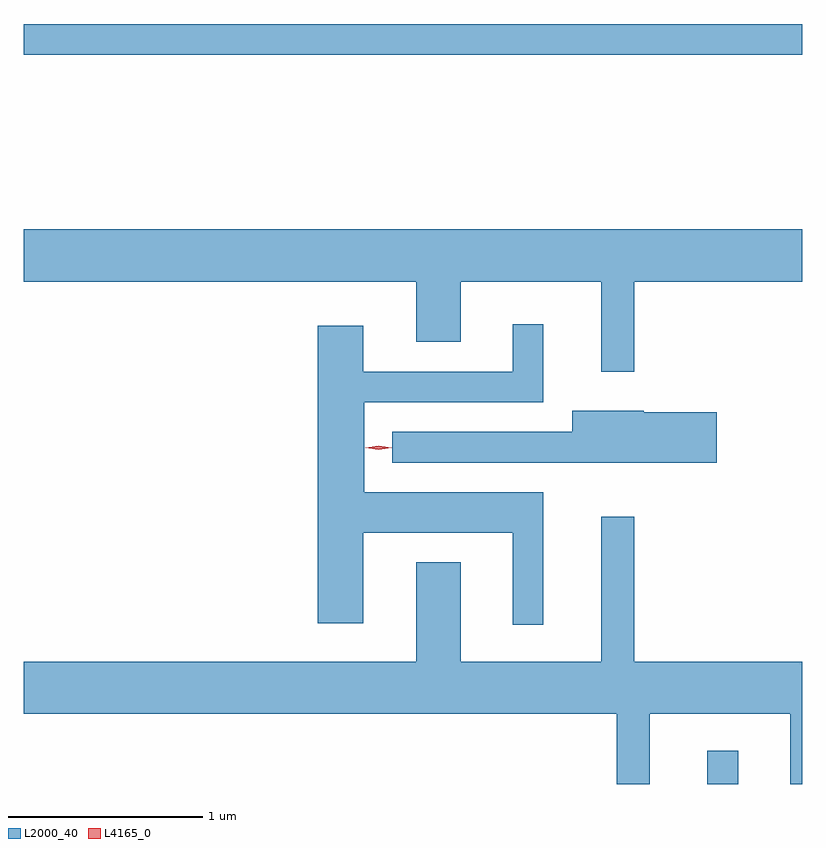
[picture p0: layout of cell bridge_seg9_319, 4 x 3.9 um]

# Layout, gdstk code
import gdstk
lib = gdstk.Library(unit=1e-6, precision=1e-09)
def R(c, l, rs):  # rectangles x0, y0, x1, y1
    for r in rs: c.add(gdstk.rectangle(r[:2], r[2:], *l))
def P(c, l, *ps):  # polygons
    for p in ps: c.add(gdstk.Polygon(p, *l))
L2000_40 = (2000, 40)
L4165_0 = (4165, 0)

bridge_seg9_319 = lib.new_cell('bridge_seg9_319')
R(bridge_seg9_319, L2000_40, [(724.566,2024.756,724.724,2024.928), (721.054,2028.501,725.054,2028.659)])
P(bridge_seg9_319, L2000_40, [(724.189,2027.336),(725.054,2027.336),(725.054,2027.604),(721.054,2027.604),(721.054,2027.336),(723.071,2027.336),(723.071,2027.026),(723.299,2027.026),(723.299,2027.336),(724.021,2027.336),(724.021,2026.873),(724.189,2026.873)],
  [(723.724,2026.254),(722.804,2026.254),(722.804,2026.716),(723.724,2026.716),(723.724,2027.118),(723.566,2027.118),(723.566,2026.874),(722.799,2026.874),(722.799,2027.109),(722.566,2027.109),(722.566,2025.581),(722.799,2025.581),(722.799,2026.046),(723.566,2026.046),(723.566,2025.573),(723.724,2025.573)],
  [(724.614,2026.664),(724.24,2026.664),(724.24,2026.674),(723.871,2026.674),(723.871,2026.564),(722.948,2026.564),(722.948,2026.406),(724.614,2026.406)],
  [(724.269,2025.116),(724.991,2025.116),(724.991,2024.756),(725.054,2024.756),(725.054,2025.384),(724.189,2025.384),(724.189,2026.128),(724.021,2026.128),(724.021,2025.384),(723.299,2025.384),(723.299,2025.894),(723.071,2025.894),(723.071,2025.384),(721.054,2025.384),(721.054,2025.116),(724.101,2025.116),(724.101,2024.756),(724.269,2024.756)])
P(bridge_seg9_319, L4165_0, [(722.877,2026.474),(722.811,2026.483),(722.81,2026.484),(722.811,2026.484),(722.877,2026.494),(722.942,2026.484),(722.943,2026.484),(722.942,2026.483)],
  [(722.877,2026.473),(722.808,2026.482),(722.807,2026.483),(722.808,2026.483),(722.877,2026.493),(722.946,2026.483),(722.946,2026.483),(722.946,2026.482)])

lib.write_gds('bridge_seg9_319.gds')
